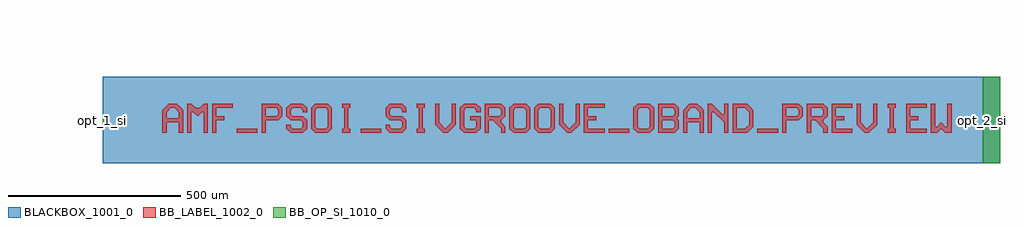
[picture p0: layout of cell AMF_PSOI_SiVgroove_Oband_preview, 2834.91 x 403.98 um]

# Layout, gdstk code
import gdstk
lib = gdstk.Library(unit=1e-6, precision=1e-09)
def R(c, l, rs):  # rectangles x0, y0, x1, y1
    for r in rs: c.add(gdstk.rectangle(r[:2], r[2:], *l))
def P(c, l, *ps):  # polygons
    for p in ps: c.add(gdstk.Polygon(p, *l))
BLACKBOX_1001_0 = (1001, 0)
BB_LABEL_1002_0 = (1002, 0)
BB_OP_SI_1010_0 = (1010, 0)

amf_psoi_sivgroove_oband = lib.new_cell('AMF_PSOI_SiVgroove_Oband_preview')
R(amf_psoi_sivgroove_oband, BLACKBOX_1001_0, [(0,-125,2606,125)])
R(amf_psoi_sivgroove_oband, BB_LABEL_1002_0, [(389.245,-37.124,449.245,-25.124), (749.245,-37.124,809.245,-25.124), (1469.245,-37.124,1529.245,-25.124), (1901.245,-37.124,1961.245,-25.124)])
P(amf_psoi_sivgroove_oband, BB_LABEL_1002_0, [(173.245,-37.124),(173.245,28.876),(191.245,46.876),(215.245,46.876),(227.245,34.876),(197.245,34.876),(185.245,22.876),(185.245,4.876),(221.245,4.876),(221.245,22.876),(209.245,34.876),(227.245,34.876),(233.245,28.876),(233.245,-37.124),(221.245,-37.124),(221.245,-7.124),(185.245,-7.124),(185.245,-37.124)],
  [(245.245,-37.124),(245.245,46.876),(257.245,46.876),(269.245,34.876),(281.245,34.876),(293.245,46.876),(305.245,46.876),(305.245,-37.124),(293.245,-37.124),(293.245,22.876),(287.245,22.876),(275.245,10.876),(263.245,22.876),(257.245,22.876),(257.245,-37.124)],
  [(317.245,-37.124),(317.245,46.876),(377.245,46.876),(377.245,34.876),(329.245,34.876),(329.245,10.876),(353.245,10.876),(353.245,-1.124),(329.245,-1.124),(329.245,-37.124)],
  [(461.245,-37.124),(461.245,46.876),(509.245,46.876),(521.245,34.876),(521.245,10.876),(509.245,-1.124),(473.245,-1.124),(473.245,10.876),(503.245,10.876),(509.245,16.876),(509.245,28.876),(503.245,34.876),(473.245,34.876),(473.245,-37.124)],
  [(545.245,-37.124),(533.245,-25.124),(533.245,-13.124),(545.245,-13.124),(545.245,-19.124),(551.245,-25.124),(575.245,-25.124),(581.245,-19.124),(581.245,-7.124),(575.245,-1.124),(545.245,-1.124),(533.245,10.876),(533.245,34.876),(545.245,46.876),(581.245,46.876),(593.245,34.876),(593.245,22.876),(581.245,22.876),(581.245,28.876),(575.245,34.876),(551.245,34.876),(545.245,28.876),(545.245,16.876),(551.245,10.876),(581.245,10.876),(593.245,-1.124),(593.245,-25.124),(581.245,-37.124)],
  [(617.245,-37.124),(605.245,-25.124),(605.245,34.876),(617.245,46.876),(653.245,46.876),(665.245,34.876),(665.245,4.876),(653.245,4.876),(653.245,28.876),(647.245,34.876),(623.245,34.876),(617.245,28.876),(617.245,-19.124),(623.245,-25.124),(647.245,-25.124),(653.245,-19.124),(653.245,4.876),(665.245,4.876),(665.245,-25.124),(653.245,-37.124)],
  [(695.245,-37.124),(695.245,-25.124),(701.245,-25.124),(701.245,34.876),(695.245,34.876),(695.245,46.876),(719.245,46.876),(719.245,34.876),(713.245,34.876),(713.245,-25.124),(719.245,-25.124),(719.245,-37.124)],
  [(833.245,-37.124),(821.245,-25.124),(821.245,-13.124),(833.245,-13.124),(833.245,-19.124),(839.245,-25.124),(863.245,-25.124),(869.245,-19.124),(869.245,-7.124),(863.245,-1.124),(833.245,-1.124),(821.245,10.876),(821.245,34.876),(833.245,46.876),(869.245,46.876),(881.245,34.876),(881.245,22.876),(869.245,22.876),(869.245,28.876),(863.245,34.876),(839.245,34.876),(833.245,28.876),(833.245,16.876),(839.245,10.876),(869.245,10.876),(881.245,-1.124),(881.245,-25.124),(869.245,-37.124)],
  [(911.245,-37.124),(911.245,-25.124),(917.245,-25.124),(917.245,34.876),(911.245,34.876),(911.245,46.876),(935.245,46.876),(935.245,34.876),(929.245,34.876),(929.245,-25.124),(935.245,-25.124),(935.245,-37.124)],
  [(989.245,-37.124),(965.245,-13.124),(965.245,46.876),(977.245,46.876),(977.245,-7.124),(995.245,-25.124),(1013.245,-7.124),(1013.245,46.876),(1025.245,46.876),(1025.245,-13.124),(1001.245,-37.124)],
  [(1049.245,-37.124),(1037.245,-25.124),(1037.245,34.876),(1049.245,46.876),(1085.245,46.876),(1097.245,34.876),(1097.245,22.876),(1085.245,22.876),(1085.245,28.876),(1079.245,34.876),(1055.245,34.876),(1049.245,28.876),(1049.245,-19.124),(1055.245,-25.124),(1079.245,-25.124),(1085.245,-19.124),(1085.245,-1.124),(1067.245,-1.124),(1067.245,10.876),(1097.245,10.876),(1097.245,-25.124),(1085.245,-37.124)],
  [(1109.245,-37.124),(1109.245,46.876),(1157.245,46.876),(1169.245,34.876),(1121.245,34.876),(1121.245,10.876),(1151.245,10.876),(1157.245,16.876),(1157.245,28.876),(1151.245,34.876),(1169.245,34.876),(1169.245,10.876),(1157.245,-1.124),(1157.245,-7.124),(1169.245,-19.124),(1169.245,-37.124),(1157.245,-37.124),(1157.245,-25.124),(1133.245,-1.124),(1121.245,-1.124),(1121.245,-37.124)],
  [(1193.245,-37.124),(1181.245,-25.124),(1181.245,34.876),(1193.245,46.876),(1229.245,46.876),(1241.245,34.876),(1241.245,4.876),(1229.245,4.876),(1229.245,28.876),(1223.245,34.876),(1199.245,34.876),(1193.245,28.876),(1193.245,-19.124),(1199.245,-25.124),(1223.245,-25.124),(1229.245,-19.124),(1229.245,4.876),(1241.245,4.876),(1241.245,-25.124),(1229.245,-37.124)],
  [(1265.245,-37.124),(1253.245,-25.124),(1253.245,34.876),(1265.245,46.876),(1301.245,46.876),(1313.245,34.876),(1313.245,4.876),(1301.245,4.876),(1301.245,28.876),(1295.245,34.876),(1271.245,34.876),(1265.245,28.876),(1265.245,-19.124),(1271.245,-25.124),(1295.245,-25.124),(1301.245,-19.124),(1301.245,4.876),(1313.245,4.876),(1313.245,-25.124),(1301.245,-37.124)],
  [(1349.245,-37.124),(1325.245,-13.124),(1325.245,46.876),(1337.245,46.876),(1337.245,-7.124),(1355.245,-25.124),(1373.245,-7.124),(1373.245,46.876),(1385.245,46.876),(1385.245,-13.124),(1361.245,-37.124)],
  [(1397.245,-37.124),(1397.245,46.876),(1457.245,46.876),(1457.245,34.876),(1409.245,34.876),(1409.245,10.876),(1433.245,10.876),(1433.245,-1.124),(1409.245,-1.124),(1409.245,-25.124),(1457.245,-25.124),(1457.245,-37.124)],
  [(1553.245,-37.124),(1541.245,-25.124),(1541.245,34.876),(1553.245,46.876),(1589.245,46.876),(1601.245,34.876),(1601.245,4.876),(1589.245,4.876),(1589.245,28.876),(1583.245,34.876),(1559.245,34.876),(1553.245,28.876),(1553.245,-19.124),(1559.245,-25.124),(1583.245,-25.124),(1589.245,-19.124),(1589.245,4.876),(1601.245,4.876),(1601.245,-25.124),(1589.245,-37.124)],
  [(1613.245,-37.124),(1613.245,46.876),(1661.245,46.876),(1673.245,34.876),(1625.245,34.876),(1625.245,10.876),(1655.245,10.876),(1661.245,16.876),(1661.245,28.876),(1655.245,34.876),(1673.245,34.876),(1673.245,10.876),(1667.245,4.876),(1673.245,-1.124),(1625.245,-1.124),(1625.245,-25.124),(1655.245,-25.124),(1661.245,-19.124),(1661.245,-7.124),(1655.245,-1.124),(1673.245,-1.124),(1673.245,-25.124),(1661.245,-37.124)],
  [(1685.245,-37.124),(1685.245,28.876),(1703.245,46.876),(1727.245,46.876),(1739.245,34.876),(1709.245,34.876),(1697.245,22.876),(1697.245,4.876),(1733.245,4.876),(1733.245,22.876),(1721.245,34.876),(1739.245,34.876),(1745.245,28.876),(1745.245,-37.124),(1733.245,-37.124),(1733.245,-7.124),(1697.245,-7.124),(1697.245,-37.124)],
  [(1757.245,-37.124),(1757.245,46.876),(1769.245,46.876),(1799.245,16.876),(1805.245,16.876),(1805.245,46.876),(1817.245,46.876),(1817.245,-37.124),(1805.245,-37.124),(1805.245,-7.124),(1775.245,22.876),(1769.245,22.876),(1769.245,-37.124)],
  [(1829.245,-37.124),(1829.245,46.876),(1871.245,46.876),(1883.245,34.876),(1841.245,34.876),(1841.245,-25.124),(1865.245,-25.124),(1877.245,-13.124),(1877.245,22.876),(1865.245,34.876),(1883.245,34.876),(1889.245,28.876),(1889.245,-19.124),(1871.245,-37.124)],
  [(1973.245,-37.124),(1973.245,46.876),(2021.245,46.876),(2033.245,34.876),(2033.245,10.876),(2021.245,-1.124),(1985.245,-1.124),(1985.245,10.876),(2015.245,10.876),(2021.245,16.876),(2021.245,28.876),(2015.245,34.876),(1985.245,34.876),(1985.245,-37.124)],
  [(2045.245,-37.124),(2045.245,46.876),(2093.245,46.876),(2105.245,34.876),(2057.245,34.876),(2057.245,10.876),(2087.245,10.876),(2093.245,16.876),(2093.245,28.876),(2087.245,34.876),(2105.245,34.876),(2105.245,10.876),(2093.245,-1.124),(2093.245,-7.124),(2105.245,-19.124),(2105.245,-37.124),(2093.245,-37.124),(2093.245,-25.124),(2069.245,-1.124),(2057.245,-1.124),(2057.245,-37.124)],
  [(2117.245,-37.124),(2117.245,46.876),(2177.245,46.876),(2177.245,34.876),(2129.245,34.876),(2129.245,10.876),(2153.245,10.876),(2153.245,-1.124),(2129.245,-1.124),(2129.245,-25.124),(2177.245,-25.124),(2177.245,-37.124)],
  [(2213.245,-37.124),(2189.245,-13.124),(2189.245,46.876),(2201.245,46.876),(2201.245,-7.124),(2219.245,-25.124),(2237.245,-7.124),(2237.245,46.876),(2249.245,46.876),(2249.245,-13.124),(2225.245,-37.124)],
  [(2279.245,-37.124),(2279.245,-25.124),(2285.245,-25.124),(2285.245,34.876),(2279.245,34.876),(2279.245,46.876),(2303.245,46.876),(2303.245,34.876),(2297.245,34.876),(2297.245,-25.124),(2303.245,-25.124),(2303.245,-37.124)],
  [(2333.245,-37.124),(2333.245,46.876),(2393.245,46.876),(2393.245,34.876),(2345.245,34.876),(2345.245,10.876),(2369.245,10.876),(2369.245,-1.124),(2345.245,-1.124),(2345.245,-25.124),(2393.245,-25.124),(2393.245,-37.124)],
  [(2405.245,-37.124),(2405.245,46.876),(2417.245,46.876),(2417.245,-19.124),(2423.245,-19.124),(2435.245,-7.124),(2447.245,-19.124),(2453.245,-19.124),(2453.245,46.876),(2465.245,46.876),(2465.245,-37.124),(2447.245,-37.124),(2435.245,-25.124),(2423.245,-37.124)])
R(amf_psoi_sivgroove_oband, BB_OP_SI_1010_0, [(2556,-125,2606,125), (0,-12,10,12)])
P(amf_psoi_sivgroove_oband, BB_OP_SI_1010_0, [(-228.906,269.441),(-228.906,269.441),(-228.906,269.441),(-228.906,269.441)],
  [(-219.368,278.979),(-219.368,278.979),(-219.368,278.979),(-219.368,278.979)])
amf_psoi_sivgroove_oband.add(gdstk.Label('opt_1_si', (0,0), layer=1010, texttype=0))
amf_psoi_sivgroove_oband.add(gdstk.Label('opt_2_si', (2556,0), layer=1010, texttype=0))

lib.write_gds('AMF_PSOI_SiVgroove_Oband_preview.gds')
